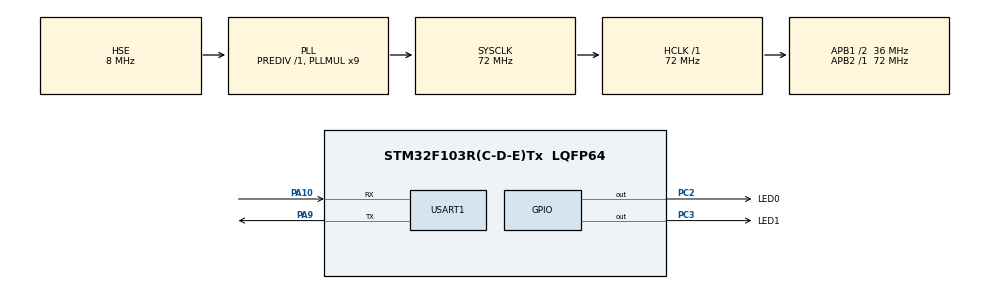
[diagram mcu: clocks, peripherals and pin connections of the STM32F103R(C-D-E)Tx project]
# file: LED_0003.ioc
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Mcu.Family=STM32F1
Mcu.Name=STM32F103R(C-D-E)Tx
Mcu.Package=LQFP64
NVIC.PriorityGroup=NVIC_PRIORITYGROUP_4
PA10.Mode=Asynchronous
PA10.Signal=USART1_RX
PA13.Mode=Serial_Wire
PA13.Signal=SYS_JTMS-SWDIO
PA14.Mode=Serial_Wire
PA14.Signal=SYS_JTCK-SWCLK
PA9.Mode=Asynchronous
PA9.Signal=USART1_TX
PC2.GPIO_Label=LED0
PC2.PinState=GPIO_PIN_SET
PC2.Signal=GPIO_Output
PC3.GPIO_Label=LED1
PC3.PinState=GPIO_PIN_SET
PC3.Signal=GPIO_Output
PD0-OSC_IN.Mode=HSE-External-Oscillator
PD0-OSC_IN.Signal=RCC_OSC_IN
PD1-OSC_OUT.Mode=HSE-External-Oscillator
PD1-OSC_OUT.Signal=RCC_OSC_OUT
ProjectManager.HeapSize=0x200
ProjectManager.StackSize=0x400
ProjectManager.TargetToolchain=MDK-ARM V5.32
RCC.AHBFreq_Value=72000000
RCC.APB1CLKDivider=RCC_HCLK_DIV2
RCC.APB1Freq_Value=36000000
RCC.APB1TimFreq_Value=72000000
RCC.APB2Freq_Value=72000000
RCC.APB2TimFreq_Value=72000000
RCC.HCLKFreq_Value=72000000
RCC.PLLMUL=RCC_PLL_MUL9
RCC.PLLSourceVirtual=RCC_PLLSOURCE_HSE
RCC.SYSCLKFreq_VALUE=72000000
RCC.SYSCLKSource=RCC_SYSCLKSOURCE_PLLCLK
RCC.USBFreq_Value=72000000
USART1.VirtualMode=VM_ASYNC
board=custom

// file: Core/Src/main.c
/* USER CODE BEGIN Header */
/**
  ******************************************************************************
  * @file           : main.c
  * @brief          : Main program body
  ******************************************************************************
  * @attention
  *
  * Copyright (c) 2025 STMicroelectronics.
  * All rights reserved.
  *
  * This software is licensed under terms that can be found in the LICENSE file
  * in the root directory of this software component.
  * If no LICENSE file comes with this software, it is provided AS-IS.
  *
  ******************************************************************************
  */
/* USER CODE END Header */
#include "main.h"
#include "usart.h"
#include "gpio.h"

void SystemClock_Config(void);

int main(void)
{

  /* MCU Configuration--------------------------------------------------------*/

  /* Reset of all peripherals, Initializes the Flash interface and the Systick. */
  HAL_Init();

  /* Configure the system clock */
  SystemClock_Config();

  /* Initialize all configured peripherals */
  MX_GPIO_Init();
  MX_USART1_UART_Init();

  /* Infinite loop */
  /* USER CODE BEGIN WHILE */
  while (1)
  {
    uint8_t dataRcvd;

	HAL_UART_Receive(&huart1, &dataRcvd, 1, 1000);

	if(dataRcvd == '0')
	{
		HAL_GPIO_WritePin(LED0_GPIO_Port,LED0_Pin,GPIO_PIN_RESET);
		HAL_Delay(1000);
		HAL_GPIO_WritePin(LED0_GPIO_Port,LED0_Pin,GPIO_PIN_SET);
		HAL_Delay(1000);
	}
	else if(dataRcvd == '1')
	{
	    HAL_GPIO_WritePin(LED1_GPIO_Port,LED1_Pin,GPIO_PIN_RESET);
		HAL_Delay(1000);
		HAL_GPIO_WritePin(LED1_GPIO_Port,LED1_Pin,GPIO_PIN_SET);
		HAL_Delay(1000);
	}
    else if(dataRcvd == '2')
	{
	    HAL_GPIO_WritePin(LED0_GPIO_Port,LED0_Pin,GPIO_PIN_RESET);
		HAL_Delay(250);
		HAL_GPIO_WritePin(LED0_GPIO_Port,LED0_Pin,GPIO_PIN_SET);
		HAL_Delay(250);
	    HAL_GPIO_WritePin(LED1_GPIO_Port,LED1_Pin,GPIO_PIN_RESET);
		HAL_Delay(250);
		HAL_GPIO_WritePin(LED1_GPIO_Port,LED1_Pin,GPIO_PIN_SET);
		HAL_Delay(250);
	}
    /* USER CODE END WHILE */

  }
}

void SystemClock_Config(void)
{
  RCC_OscInitTypeDef RCC_OscInitStruct = {0};
  RCC_ClkInitTypeDef RCC_ClkInitStruct = {0};

  /** Initializes the RCC Oscillators according to the specified parameters
  * in the RCC_OscInitTypeDef structure.
  */
  RCC_OscInitStruct.OscillatorType = RCC_OSCILLATORTYPE_HSE;
  RCC_OscInitStruct.HSEState = RCC_HSE_ON;
  RCC_OscInitStruct.HSEPredivValue = RCC_HSE_PREDIV_DIV1;
  RCC_OscInitStruct.HSIState = RCC_HSI_ON;
  RCC_OscInitStruct.PLL.PLLState = RCC_PLL_ON;
  RCC_OscInitStruct.PLL.PLLSource = RCC_PLLSOURCE_HSE;
  RCC_OscInitStruct.PLL.PLLMUL = RCC_PLL_MUL9;
  if (HAL_RCC_OscConfig(&RCC_OscInitStruct) != HAL_OK)
  {
    Error_Handler();
  }

  /** Initializes the CPU, AHB and APB buses clocks
  */
  RCC_ClkInitStruct.ClockType = RCC_CLOCKTYPE_HCLK|RCC_CLOCKTYPE_SYSCLK
                              |RCC_CLOCKTYPE_PCLK1|RCC_CLOCKTYPE_PCLK2;
  RCC_ClkInitStruct.SYSCLKSource = RCC_SYSCLKSOURCE_PLLCLK;
  RCC_ClkInitStruct.AHBCLKDivider = RCC_SYSCLK_DIV1;
  RCC_ClkInitStruct.APB1CLKDivider = RCC_HCLK_DIV2;
  RCC_ClkInitStruct.APB2CLKDivider = RCC_HCLK_DIV1;

  if (HAL_RCC_ClockConfig(&RCC_ClkInitStruct, FLASH_LATENCY_2) != HAL_OK)
  {
    Error_Handler();
  }
}

void Error_Handler(void)
{
  __disable_irq();
  while (1)
  {
  }
}
